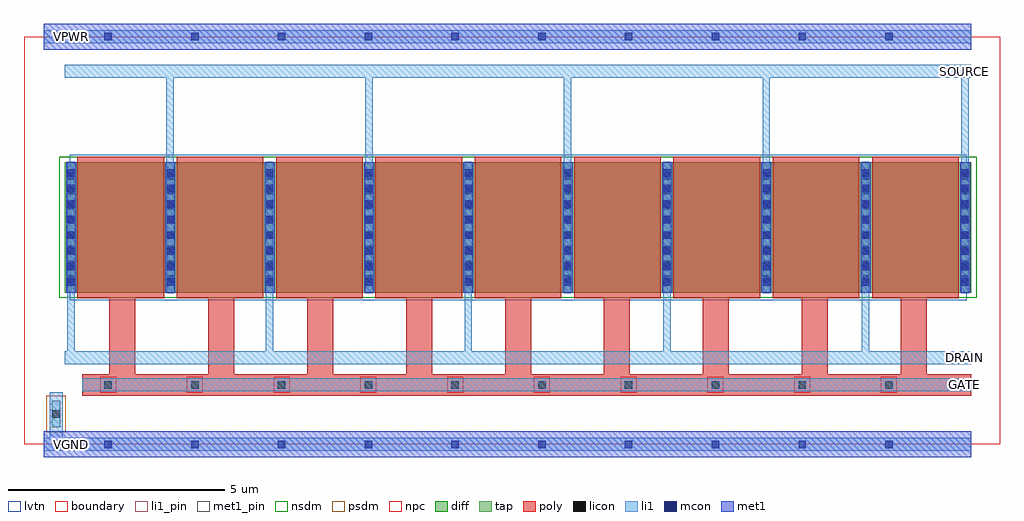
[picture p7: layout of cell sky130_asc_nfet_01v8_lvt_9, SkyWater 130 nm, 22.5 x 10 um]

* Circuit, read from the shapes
.subckt sky130_asc_nfet_01v8_lvt_9 DRAIN GATE SOURCE VGND VPWR
XM1 SOURCE GATE DRAIN VGND sky130_fd_pr__nfet_01v8_lvt w=3 l=2 m=9
.ends

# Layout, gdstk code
import gdstk
lib = gdstk.Library(unit=1e-6, precision=1e-09)
def R(c, l, rs):  # rectangles x0, y0, x1, y1
    for r in rs: c.add(gdstk.rectangle(r[:2], r[2:], *l))
def A(c, l, x, y, w, h, nx, ny, dx, dy):  # array of equal rectangles
    R(c, l, [(x+i*dx, y+j*dy, x+i*dx+w, y+j*dy+h) for i in range(nx) for j in range(ny)])
diff = (65, 20)
tap = (65, 44)
poly = (66, 20)
licon = (66, 44)
li1_pin = (67, 16)
li1 = (67, 20)
mcon = (67, 44)
met1_pin = (68, 16)
met1 = (68, 20)
nsdm = (93, 44)
psdm = (94, 20)
npc = (95, 20)
lvtn = (125, 44)
boundary = (235, 4)

sky130_asc_nfet_01v8_lvt = lib.new_cell('sky130_asc_nfet_01v8_lvt_9')
R(sky130_asc_nfet_01v8_lvt, diff, [(0.94,3.5,21.84,6.5)])
R(sky130_asc_nfet_01v8_lvt, tap, [(0.64,0.4,0.84,1)])
A(sky130_asc_nfet_01v8_lvt, poly, 1.97, 1.62, 0.6, 1.75, 9, 1, 2.28, 0)
A(sky130_asc_nfet_01v8_lvt, poly, 1.23, 3.37, 2, 3.26, 9, 1, 2.29, 0)
R(sky130_asc_nfet_01v8_lvt, poly, [(1.34,1.12,21.84,1.62)])
A(sky130_asc_nfet_01v8_lvt, licon, 1.855, 1.285, 0.17, 0.17, 10, 1, 2, 0)
A(sky130_asc_nfet_01v8_lvt, licon, 1, 3.725, 0.17, 0.17, 10, 8, 2.29, 0.34)
R(sky130_asc_nfet_01v8_lvt, licon, [(0.655,0.615,0.825,0.785)])
R(sky130_asc_nfet_01v8_lvt, li1_pin, [(21.54,1.22,21.84,1.52), (21.54,1.85,21.84,2.15), (21.54,8.45,21.84,8.75)])
A(sky130_asc_nfet_01v8_lvt, li1, 0.995, 2.15, 0.17, 1.33, 5, 1, 4.58, 0)
A(sky130_asc_nfet_01v8_lvt, li1, 0.995, 3.48, 0.175, 0.29, 5, 1, 4.58, 0)
A(sky130_asc_nfet_01v8_lvt, li1, 3.29, 3.48, 0.17, 2.95, 5, 1, 4.58, 0)
A(sky130_asc_nfet_01v8_lvt, li1, 1, 3.77, 0.17, 2.75, 5, 1, 4.58, 0)
A(sky130_asc_nfet_01v8_lvt, li1, 3.285, 6.43, 0.175, 0.09, 5, 1, 4.58, 0)
A(sky130_asc_nfet_01v8_lvt, li1, 3.285, 6.52, 0.17, 1.93, 5, 1, 4.58, 0)
R(sky130_asc_nfet_01v8_lvt, li1, [(0.45,-0.15,21.84,0.15), (0.59,0.15,0.89,1.2), (1.34,1.22,21.84,1.52), (0.94,1.85,21.84,2.15), (0.94,8.45,21.84,8.75), (0.45,9.25,21.84,9.55)])
A(sky130_asc_nfet_01v8_lvt, mcon, 1.855, -0.085, 0.17, 0.17, 10, 2, 2, 9.4)
A(sky130_asc_nfet_01v8_lvt, mcon, 1, 3.655, 0.17, 0.17, 10, 8, 2.29, 0.36)
R(sky130_asc_nfet_01v8_lvt, met1_pin, [(0.94,-0.15,1.24,0.15), (0.94,9.25,1.24,9.55)])
A(sky130_asc_nfet_01v8_lvt, met1, 0.97, 3.5, 0.23, 3, 10, 1, 2.29, 0)
R(sky130_asc_nfet_01v8_lvt, met1, [(0.45,-0.3,21.84,0.3), (0.45,9.1,21.84,9.7)])
R(sky130_asc_nfet_01v8_lvt, nsdm, [(0.815,3.375,21.965,6.625)])
R(sky130_asc_nfet_01v8_lvt, psdm, [(0.515,0.275,0.965,1.125)])
A(sky130_asc_nfet_01v8_lvt, npc, 1.755, 1.185, 0.37, 0.37, 10, 1, 2, 0)
R(sky130_asc_nfet_01v8_lvt, lvtn, [(1.05,3.32,21.73,6.68)])
R(sky130_asc_nfet_01v8_lvt, boundary, [(0,0,22.5,9.4)])
sky130_asc_nfet_01v8_lvt.add(gdstk.Label('GATE', (21.69,1.37), layer=67, texttype=16))
sky130_asc_nfet_01v8_lvt.add(gdstk.Label('SOURCE', (21.69,8.6), layer=67, texttype=16))
sky130_asc_nfet_01v8_lvt.add(gdstk.Label('DRAIN', (21.69,2), layer=67, texttype=16))
sky130_asc_nfet_01v8_lvt.add(gdstk.Label('VPWR', (1.09,9.4), layer=68, texttype=16))
sky130_asc_nfet_01v8_lvt.add(gdstk.Label('VGND', (1.09,0), layer=68, texttype=16))

lib.write_gds('sky130_asc_nfet_01v8_lvt_9.gds')
